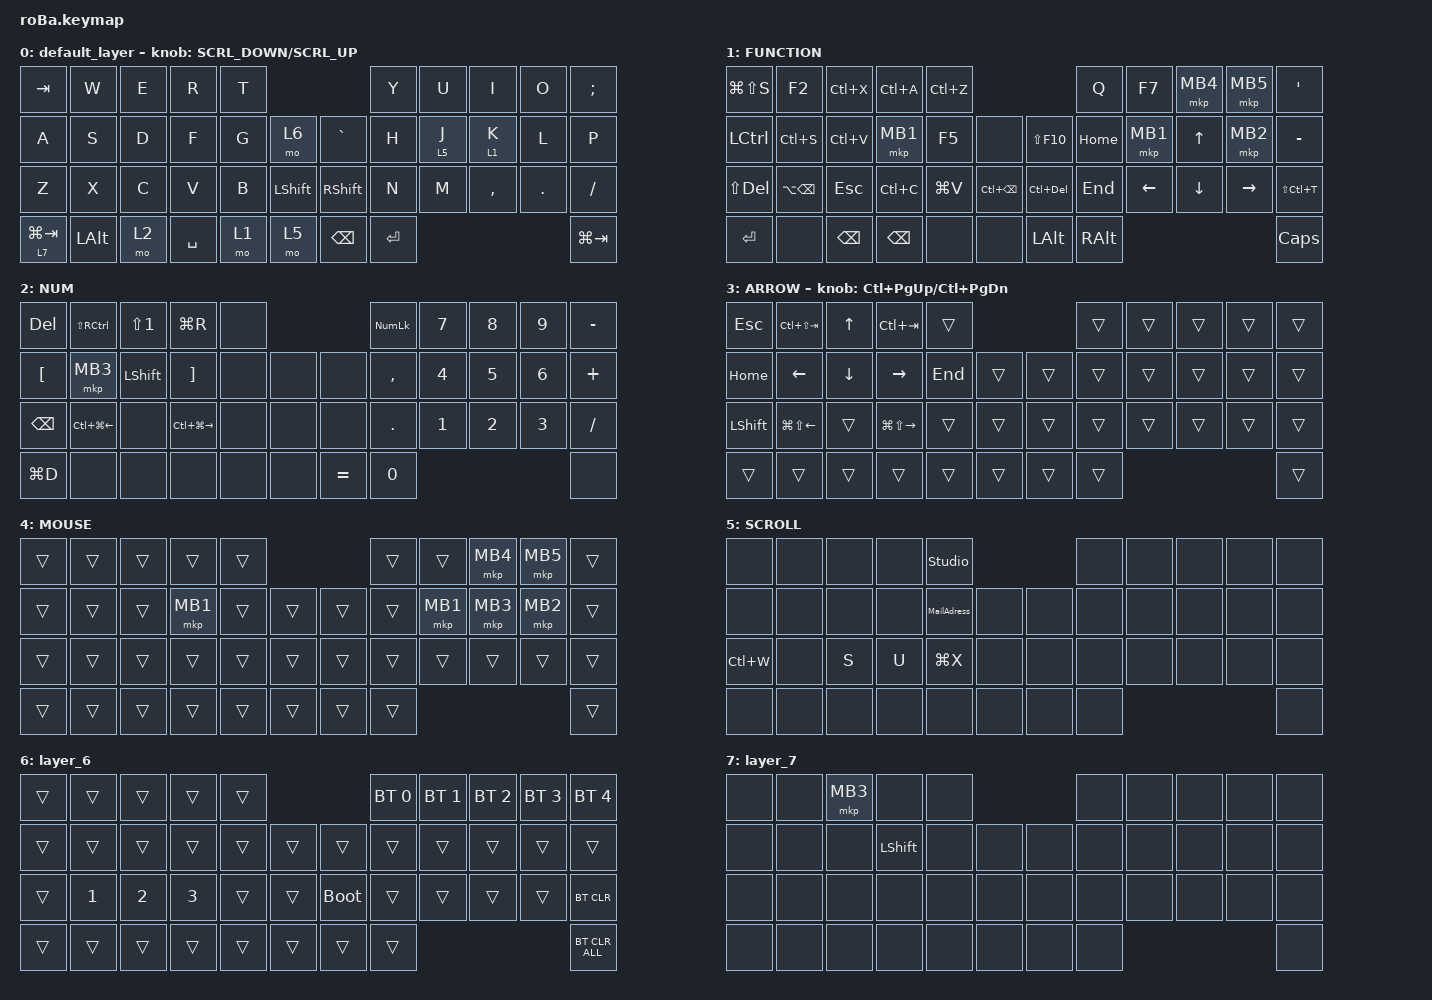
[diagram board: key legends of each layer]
#include <behaviors.dtsi>
#include <dt-bindings/zmk/bt.h>
#include <dt-bindings/zmk/keys.h>
#include <dt-bindings/zmk/pointing.h>

#define MOUSE 4
#define SCROLL 5
#define NUM 6
#define ZMK_POINTING_DEFAULT_SCRL_VAL 80

&mt {
    flavor = "balanced";
    quick-tap-ms = <0>;
};

/ {
    combos {
        compatible = "zmk,combos";

        tab {
            bindings = <&kp TAB>;
            key-positions = <11 12>;
        };

        paste {
            bindings = <&kp LS(LC(V))>;
            key-positions = <12 13>;
        };

        muhennkann {
            bindings = <&to_layer_0 INT_MUHENKAN>;
            key-positions = <11 10>;
        };

        double_quotation {
            bindings = <&kp DOUBLE_QUOTES>;
            key-positions = <20 21>;
        };

        eq {
            bindings = <&kp EQUAL>;
            key-positions = <24 25>;
        };

        bt_sel0 {
            bindings = <&bt BT_SEL 0>;
            key-positions = <6 7>;
        };

        bt_sel1 {
            bindings = <&bt BT_SEL 1>;
            key-positions = <7 8>;
        };

        combo_MB3 {
            bindings = <&mkp MB3>;
            key-positions = <13 2>;
        };
    };

    behaviors {
        lt_to_layer_0: lt_to_layer_0 {
            compatible = "zmk,behavior-hold-tap";
            label = "LAYER_TAP_TO_0";
            bindings = <&mo>, <&to_layer_0>;

            #binding-cells = <2>;
            tapping-term-ms = <200>;
        };

        new_behavior: new_behavior {
            compatible = "zmk,behavior-sensor-rotate-var";
            label = "NEW_BEHAVIOR";
            #sensor-binding-cells = <2>;
            bindings = <&msc>, <&msc>;

            tap-ms = <20>;
        };
    };

    macros {
        to_layer_0: new_macro {
            compatible = "zmk,behavior-macro-one-param";
            #binding-cells = <1>;
            bindings = <&to 0 &macro_param_1to1 &kp MACRO_PLACEHOLDER>;
            label = "NEW_MACRO";
        };

        MailAdress: MailAdress {
            compatible = "zmk,behavior-macro";
            #binding-cells = <0>;
            bindings = <&none &kp K &kp A &kp S &kp P &kp I &kp N &kp I &kp N &kp G &kp AT &kp G &kp M &kp A &kp I &kp L &kp DOT &kp C &kp O &kp M>;
            label = "MAILADRESS";
        };
    };

    keymap {
        compatible = "zmk,keymap";

        default_layer {
            bindings = <
&kp TAB        &kp W         &kp E  &kp R      &kp T                                     &kp Y      &kp U    &kp I      &kp O    &kp SEMICOLON
&kp A          &kp S         &kp D  &kp F      &kp G  &mo 6               &kp GRAVE      &kp H      &lt 5 J  &lt 1 K    &kp L    &kp P
&kp Z          &kp X         &kp C  &kp V      &kp B  &kp LEFT_SHIFT      &kp RSHIFT     &kp N      &kp M    &kp COMMA  &kp DOT  &kp SLASH
&lt 7 LG(TAB)  &kp LEFT_ALT  &mo 2  &kp SPACE  &mo 1  &mo 5               &kp BACKSPACE  &kp ENTER                               &kp LG(TAB)
            >;

            sensor-bindings = <&new_behavior SCRL_DOWN SCRL_UP>;
        };

        FUNCTION {
            bindings = <
&kp LG(LS(S))   &kp F2             &kp LC(X)      &kp LC(A)      &kp LC(Z)                                       &kp Q          &kp F7          &mkp MB4        &mkp MB5         &kp SQT
&kp LCTRL       &kp LC(S)          &kp LC(V)      &mkp MB1       &kp F5     &none                  &kp LS(F10)   &kp HOME       &mkp MB1        &kp UP_ARROW    &mkp MB2         &kp MINUS
&kp LS(DELETE)  &kp LA(BACKSPACE)  &kp ESCAPE     &kp LC(C)      &kp LG(V)  &kp LC(BACKSPACE)      &kp LC(DEL)   &kp END        &kp LEFT_ARROW  &kp DOWN_ARROW  &kp RIGHT_ARROW  &kp LS(LC(T))
&kp ENTER       &none              &kp BACKSPACE  &kp BACKSPACE  &none      &none                  &kp LEFT_ALT  &kp RIGHT_ALT                                                   &kp CAPSLOCK
            >;
        };

        NUM {
            bindings = <
&kp DELETE        &kp LS(RCTRL)           &kp LS(NUMBER_1)  &kp LG(R)                &none                        &kp KP_NUMLOCK  &kp NUMBER_7  &kp NUMBER_8  &kp NUMBER_9  &kp MINUS
&kp LEFT_BRACKET  &mkp MB3                &kp LEFT_SHIFT    &kp RIGHT_BRACKET        &none  &none      &none      &kp COMMA       &kp NUMBER_4  &kp NUMBER_5  &kp NUMBER_6  &kp PLUS
&kp BACKSPACE     &kp LC(LG(LEFT_ARROW))  &none             &kp LC(LG(RIGHT_ARROW))  &none  &none      &none      &kp PERIOD      &kp NUMBER_1  &kp NUMBER_2  &kp NUMBER_3  &kp SLASH
&kp LG(D)         &none                   &none             &none                    &none  &none      &kp EQUAL  &kp NUMBER_0                                              &none
            >;
        };

        ARROW {
            bindings = <
&kp ESCAPE      &kp LC(LS(TAB))         &kp UP_ARROW    &kp LC(TAB)              &trans                       &trans  &trans  &trans  &trans  &trans
&kp HOME        &kp LEFT_ARROW          &kp DOWN_ARROW  &kp RIGHT_ARROW          &kp END  &trans      &trans  &trans  &trans  &trans  &trans  &trans
&kp LEFT_SHIFT  &kp LG(LS(LEFT_ARROW))  &trans          &kp LG(LS(RIGHT_ARROW))  &trans   &trans      &trans  &trans  &trans  &trans  &trans  &trans
&trans          &trans                  &trans          &trans                   &trans   &trans      &trans  &trans                          &trans
            >;

            sensor-bindings = <&inc_dec_kp LC(PAGE_UP) LC(PAGE_DOWN)>;
        };

        MOUSE {
            bindings = <
&trans  &trans  &trans  &trans    &trans                      &trans  &trans    &mkp MB4  &mkp MB5  &trans
&trans  &trans  &trans  &mkp MB1  &trans  &trans      &trans  &trans  &mkp MB1  &mkp MB3  &mkp MB2  &trans
&trans  &trans  &trans  &trans    &trans  &trans      &trans  &trans  &trans    &trans    &trans    &trans
&trans  &trans  &trans  &trans    &trans  &trans      &trans  &trans                                &trans
            >;
        };

        SCROLL {
            bindings = <
&none      &none  &none  &none  &studio_unlock                    &none  &none  &none  &none  &none
&none      &none  &none  &none  &MailAdress     &none      &none  &none  &none  &none  &none  &none
&kp LC(W)  &none  &kp S  &kp U  &kp LG(X)       &none      &none  &none  &none  &none  &none  &none
&none      &none  &none  &none  &none           &none      &none  &none                       &none
            >;
        };

        layer_6 {
            bindings = <
&trans  &trans        &trans        &trans        &trans                           &bt BT_SEL 0  &bt BT_SEL 1  &bt BT_SEL 2  &bt BT_SEL 3  &bt BT_SEL 4
&trans  &trans        &trans        &trans        &trans  &trans      &trans       &trans        &trans        &trans        &trans        &trans
&trans  &kp NUMBER_1  &kp NUMBER_2  &kp NUMBER_3  &trans  &trans      &bootloader  &trans        &trans        &trans        &trans        &bt BT_CLR
&trans  &trans        &trans        &trans        &trans  &trans      &trans       &trans                                                  &bt BT_CLR_ALL
            >;
        };

        layer_7 {
            bindings = <
&none  &none  &mkp MB3  &none           &none                    &none  &none  &none  &none  &none
&none  &none  &none     &kp LEFT_SHIFT  &none  &none      &none  &none  &none  &none  &none  &none
&none  &none  &none     &none           &none  &none      &none  &none  &none  &none  &none  &none
&none  &none  &none     &none           &none  &none      &none  &none                       &none
            >;
        };
    };
};
